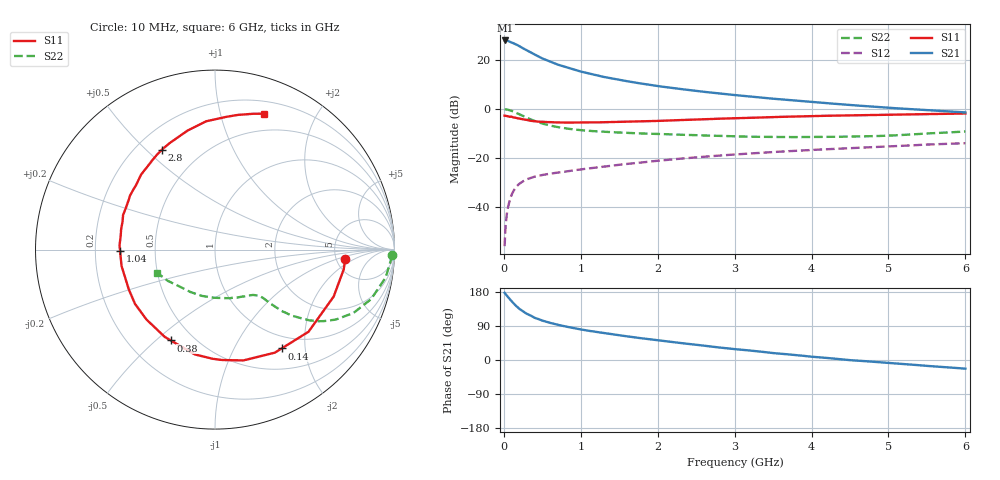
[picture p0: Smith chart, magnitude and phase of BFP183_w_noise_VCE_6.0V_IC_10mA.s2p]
! Infineon Technologies  Discrete & RF Semiconductors
! BFP183
! VCE = 6.0 V,  IC =  10 mA
! Common Emitter S-Parameters:  Jan 2016
# GHz  S  MA  R  50
!  f  S11  S21  S12  S22
! GHz  MAG  ANG  MAG  ANG  MAG  ANG  MAG  ANG
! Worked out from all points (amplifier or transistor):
!   210 points, 10 MHz to 6 GHz, reference 50 ohm
!   highest |S21| = 27.9 dB at 20 MHz (marker M1)
!   |S21| within 3 dB of that: start of sweep to 238.5 MHz
!   unconditionally stable (mu >= 1): 1.21 GHz to 5.707 GHz
!   at 185 MHz: K = 0.24, MSG = 28.4 dB, |S12| = -31.0 dB
!   at 1.52 GHz: K = 1.07, MAG = 15.6 dB, |S12| = -22.7 dB
!   at 6 GHz: K = 0.96, MSG = 6.3 dB, |S12| = -14.0 dB
!   lowest NFmin = 1.30 dB at 450 MHz
!   S11 on the Smith chart (normalised r, x): 10 MHz: 6.04, -1.34; 140 MHz: 0.80, -1.58; 380 MHz: 0.38, -0.56; 1.04 GHz: 0.31, -0.01; 2.8 GHz: 0.30, +0.56; 6 GHz: 0.32, +1.37
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0.01  0.7277 -4.1  24.57 177.2  0.0016 85.1  0.984 -1.8
0.02  0.7254 -8.8  24.71 174.9  0.0035 84.5  0.9807 -3.7
0.05  0.7111 -21.6  24.27 167.0  0.0093 81.8  0.9639 -9.2
0.1  0.6935 -41.3  22.59 155.2  0.0177 69.8  0.9125 -17.6
0.14  0.6643 -56.0  21.21 146.6  0.0233 64.1  0.8599 -23.1
0.15  0.6641 -59.8  20.94 144.3  0.0247 63.1  0.8481 -24.6
0.2  0.6374 -75.6  19.04 135.3  0.0297 57.4  0.7787 -30.0
0.24  0.6168 -86.1  17.43 129.4  0.0328 53.3  0.7273 -33.2
0.3  0.5949 -100.9  15.5 121.8  0.0369 49.6  0.6562 -36.9
0.38  0.5628 -116.0  13.26 113.8  0.0406 45.8  0.5833 -39.8
0.5  0.5455 -134.5  10.63 104.0  0.045 42.2  0.5017 -42.7
0.6  0.5386 -145.8  9.197 98.0  0.0479 41.5  0.4575 -43.6
0.8  0.5246 -163.2  7.117 88.4  0.0528 41.2  0.4014 -44.7
1.02  0.5281 -177.9  5.652 80.0  0.0587 42.0  0.3657 -45.8
1.04  0.5288 -179.1  5.556 79.4  0.0594 42.0  0.3635 -46.0
1.5  0.5471 159.4  3.897 65.2  0.0727 42.9  0.3296 -50.0
2.02  0.5693 140.3  2.883 51.5  0.0882 42.1  0.3081 -57.7
2.8  0.6304 118.2  2.056 33.0  0.1119 38.5  0.2828 -73.4
3.1  0.6504 111.0  1.847 26.9  0.1205 37.0  0.2733 -80.6
4.1  0.7198 92.4  1.346 7.1  0.1482 30.2  0.2676 -108.5
5.1  0.7649 79.3  1.029 -9.2  0.1738 24.1  0.2895 -136.5
6  0.8046 70.2  0.847 -22.9  0.1999 16.5  0.3461 -157.9
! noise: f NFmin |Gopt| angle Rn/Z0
0.45  1.3  0.15  45  0.18
0.9  1.4  0.2  125  0.19
1.8  2.1  0.34  -170  0.14
